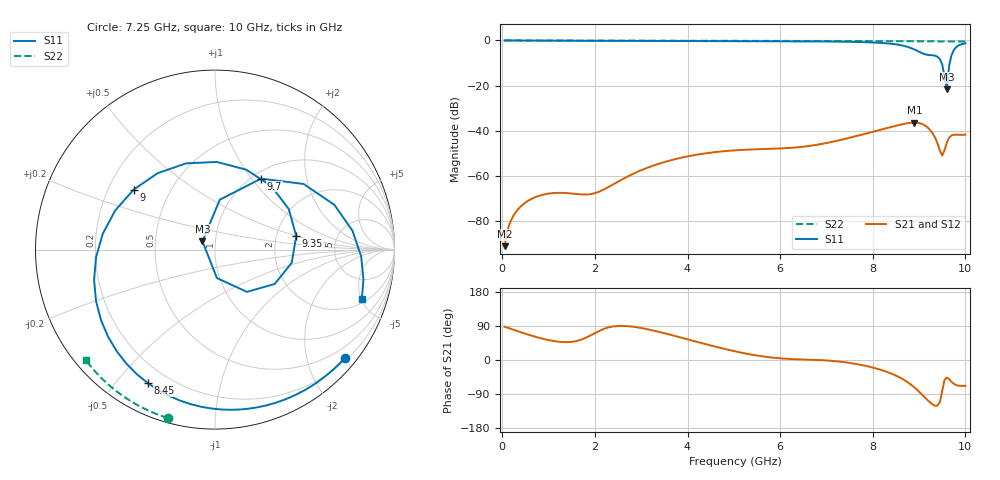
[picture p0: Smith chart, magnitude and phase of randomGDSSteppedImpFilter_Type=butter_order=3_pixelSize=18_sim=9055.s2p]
! freq	dB(S11)	phase(S11)	dB(S12)	phase(S12)
!  dB(S21)	phase(S21)	dB(S22)	phase(S22)
!S-par simulation data
#  GHz  S  DB  R 50
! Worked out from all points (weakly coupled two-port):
!   200 points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, 50 MHz to 10 GHz, reference 50 ohm
!   highest |S21| = -36.33 dB at 8.9 GHz (marker M1); lowest = -91.0 dB at 50 MHz (marker M2)
!   lowest |S11| = -21.6 dB at 9.6 GHz (marker M3), VSWR 1.18, Z = 43.3 + j4 ohm
!   |S11| at or under -10 dB: 9.487 GHz to 9.662 GHz (175 MHz wide, 1.83 % of centre)
!   |S22| runs from -0.5 to 0.0 dB; largest |S21 - S12| = 0
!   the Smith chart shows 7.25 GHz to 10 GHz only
!   S11 on the Smith chart (normalised r, x): 7.25 GHz: 0.26, -2.75; 8.45 GHz: 0.13, -0.61; 9 GHz: 0.31, +0.30; 9.35 GHz: 2.58, +0.49; 9.7 GHz: 1.10, +1.12; 10 GHz: 2.30, -5.03
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0.05  -0.00 -3.5  -90.98 87.9  -90.98 87.9  -0.00 -0.8
0.95  -0.08 -64.8  -67.89 53.9  -67.89 53.9  -0.02 -15.3
1.75  -0.13 -114.4  -68.13 56.0  -68.13 56.0  -0.04 -27.9
2.6  -0.16 -162.1  -61.30 90.0  -61.30 90.0  -0.05 -41.0
3.4  -0.20 155.6  -54.40 73.7  -54.40 73.7  -0.07 -53.1
4.25  -0.23 111.3  -50.35 46.4  -50.35 46.4  -0.09 -65.4
5.05  -0.27 69.8  -48.56 22.3  -48.56 22.3  -0.12 -76.7
5.9  -0.32 26.6  -47.85 5.5  -47.85 5.5  -0.15 -88.2
6.7  -0.40 -12.8  -46.45 0.5  -46.45 0.5  -0.19 -98.7
7.25  -0.52 -39.7  -44.26 -3.8  -44.26 -3.8  -0.22 -105.7
7.9  -0.82 -74.8  -40.95 -17.0  -40.95 -17.0  -0.27 -113.8
8.35  -1.36 -107.2  -38.51 -33.4  -38.51 -33.4  -0.31 -119.4
8.45  -1.59 -116.8  -37.98 -38.4  -37.98 -38.4  -0.31 -120.6
8.9  -3.99 171.9  -36.33 -72.3  -36.33 -72.3  -0.36 -126.1
9  -4.98 143.6  -36.54 -83.5  -36.54 -83.5  -0.36 -127.3
9.15  -6.22 88.9  -37.90 -101.9  -37.90 -101.9  -0.38 -129.2
9.35  -6.77 9.5  -43.18 -120.7  -43.18 -120.7  -0.40 -131.6
9.5  -10.60 -52.9  -50.92 -81.3  -50.92 -81.3  -0.41 -133.4
9.6  -21.56 146.7  -45.15 -46.2  -45.15 -46.2  -0.43 -134.6
9.7  -6.53 57.0  -42.01 -57.5  -42.01 -57.5  -0.44 -135.8
9.85  -2.23 7.7  -41.72 -67.7  -41.72 -67.7  -0.45 -137.7
10  -1.27 -18.8  -41.66 -68.2  -41.66 -68.2  -0.47 -139.5
